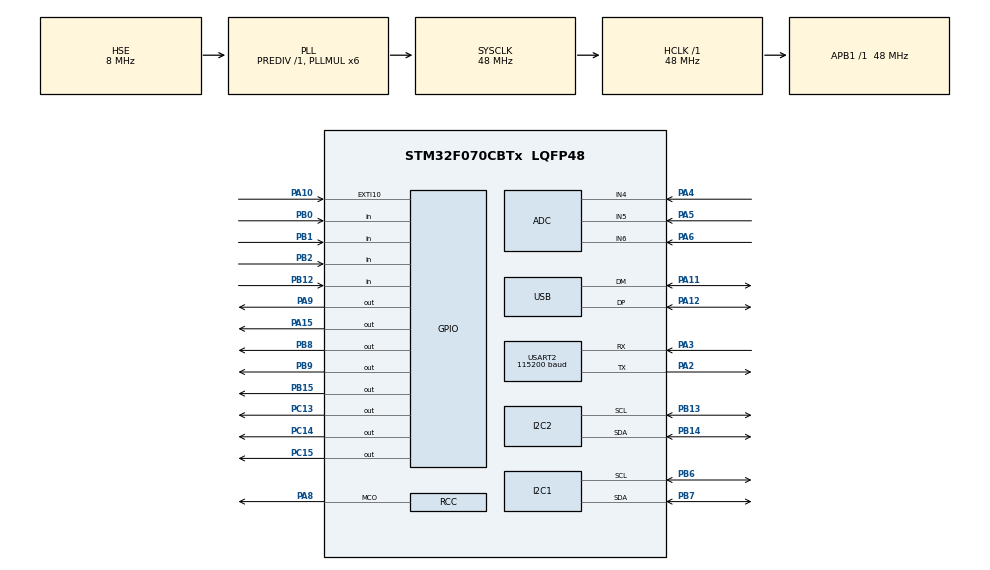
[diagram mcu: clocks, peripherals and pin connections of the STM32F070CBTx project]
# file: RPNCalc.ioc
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ADC.SamplingTime=ADC_SAMPLETIME_239CYCLES_5
I2C2.Timing=0x20303E5D
Mcu.Family=STM32F0
Mcu.Name=STM32F070CBTx
Mcu.Package=LQFP48
NVIC.ADC1_IRQn=true\:0\:0\:false\:false\:true\:true\:true
NVIC.EXTI4_15_IRQn=true\:0\:0\:false\:false\:true\:true\:true
NVIC.USART2_IRQn=true\:0\:0\:false\:false\:true\:true\:true
NVIC.USB_IRQn=true\:0\:0\:false\:false\:true\:true\:true
PA10.GPIO_ModeDefaultEXTI=GPIO_MODE_IT_FALLING
PA10.Signal=GPXTI10
PA11.Mode=Device
PA11.Signal=USB_DM
PA12.Mode=Device
PA12.Signal=USB_DP
PA15.Signal=GPIO_Output
PA2.Mode=Asynchronous
PA2.Signal=USART2_TX
PA3.Mode=Asynchronous
PA3.Signal=USART2_RX
PA4.Mode=IN4
PA4.Signal=ADC_IN4
PA5.Mode=IN5
PA5.Signal=ADC_IN5
PA6.Mode=IN6
PA6.Signal=ADC_IN6
PA8.Mode=Clock-out
PA8.Signal=RCC_MCO
PA9.Signal=GPIO_Output
PB0.Signal=GPIO_Input
PB1.Signal=GPIO_Input
PB12.Signal=GPIO_Input
PB13.Mode=I2C
PB13.Signal=I2C2_SCL
PB14.Mode=I2C
PB14.Signal=I2C2_SDA
PB15.Signal=GPIO_Output
PB2.Signal=GPIO_Input
PB3.Signal=SPI1_SCK
PB4.Signal=SPI1_MISO
PB5.Signal=SPI1_MOSI
PB6.Mode=I2C
PB6.Signal=I2C1_SCL
PB7.Mode=I2C
PB7.Signal=I2C1_SDA
PB8.Signal=GPIO_Output
PB9.Signal=GPIO_Output
PC13.Signal=GPIO_Output
PC14-OSC32_IN.Signal=GPIO_Output
PC15-OSC32_OUT.Signal=GPIO_Output
PF0-OSC_IN.Mode=HSE-External-Oscillator
PF0-OSC_IN.Signal=RCC_OSC_IN
PF1-OSC_OUT.Mode=HSE-External-Oscillator
PF1-OSC_OUT.Signal=RCC_OSC_OUT
ProjectManager.HeapSize=0x200
ProjectManager.StackSize=0x400
ProjectManager.TargetToolchain=STM32CubeIDE
RCC.AHBFreq_Value=48000000
RCC.APB1Freq_Value=48000000
RCC.APB1TimFreq_Value=48000000
RCC.HCLKFreq_Value=48000000
RCC.PLLMUL=RCC_PLL_MUL6
RCC.SYSCLKFreq_VALUE=48000000
RCC.SYSCLKSource=RCC_SYSCLKSOURCE_PLLCLK
USART2.BaudRate=115200
USART2.VirtualMode-Asynchronous=VM_ASYNC
VP_ADC_TempSens_Input.Mode=IN-TempSens
VP_ADC_Vref_Input.Mode=IN-Vrefint
VP_IWDG_VS_IWDG.Mode=IWDG_Activate
VP_TIM1_VS_ClockSourceINT.Mode=Internal
VP_TIM3_VS_ClockSourceINT.Mode=Internal
board=custom

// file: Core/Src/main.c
/* USER CODE BEGIN Header */
/**
  ******************************************************************************
  * @file           : main.c
  * @brief          : Main program body
  ******************************************************************************
  * @attention
  *
  * <h2><center>&copy; Copyright (c) 2020 STMicroelectronics.
  * All rights reserved.</center></h2>
  *
  * This software component is licensed by ST under BSD 3-Clause license,
  * the "License"; You may not use this file except in compliance with the
  * License. You may obtain a copy of the License at:
  *                        opensource.org/licenses/BSD-3-Clause
  *
  ******************************************************************************
  */
/* USER CODE END Header */
#include "main.h"

/* USER CODE BEGIN Includes */
#include <stdio.h>
#include "rpnHwDefs.h"
#include "display.h"
#include "keypad.h"
#include "calcMaths.h"
#include "calculator.h"

/* USER CODE END Includes */

ADC_HandleTypeDef hadc;

I2C_HandleTypeDef hi2c1;
I2C_HandleTypeDef hi2c2;

IWDG_HandleTypeDef hiwdg;

TIM_HandleTypeDef htim1;
TIM_HandleTypeDef htim3;

UART_HandleTypeDef huart2;

PCD_HandleTypeDef hpcd_USB_FS;

void SystemClock_Config(void);
static void MX_GPIO_Init(void);
static void MX_ADC_Init(void);
static void MX_I2C1_Init(void);
static void MX_I2C2_Init(void);
static void MX_TIM1_Init(void);
static void MX_TIM3_Init(void);
static void MX_USART2_UART_Init(void);
static void MX_USB_PCD_Init(void);
static void MX_IWDG_Init(void);
/* USER CODE BEGIN PFP */
static void StartADCs(void);
static void HandleLEDBlinker(int16_t tick);

#define    UART_QUEUE_SIZE    16
uint8_t    uart_rx_data[4];

uint8_t    uartcharqueue[UART_QUEUE_SIZE];
int16_t    uartqueueHead;
int16_t    uartqueueTail;
void    PushUARTQueue(uint8_t    value);
uint8_t    PopUARTQueue(void);

/* USER CODE END PFP */

/* USER CODE BEGIN 0 */
int16_t            adcValues[ADC_CHANNEL_COUNT];
static int16_t     adcChannel;
static char     pwrButtonEnabled;

/* USER CODE END 0 */

int main(void)
{
  /* USER CODE BEGIN 1 */
    int16_t        i,ticker;
     uint8_t        keycode;

  /* USER CODE END 1 */

  /* MCU Configuration--------------------------------------------------------*/

  /* Reset of all peripherals, Initializes the Flash interface and the Systick. */
  HAL_Init();

  /* Configure the system clock */
  SystemClock_Config();

  /* Initialize all configured peripherals */
  MX_GPIO_Init();
  MX_ADC_Init();
  MX_I2C1_Init();
  MX_I2C2_Init();
  MX_TIM1_Init();
  MX_TIM3_Init();
  MX_USART2_UART_Init();
  MX_USB_PCD_Init();
  MX_IWDG_Init();
  /* USER CODE BEGIN 2 */
    POWER_SUPPLY_HOLD(1);  // hold the power supply on
    KEYPAD_RESET(1);          // hold keypad in reset

    HAL_TIM_Base_Start(&htim1);

     HAL_IWDG_Refresh(&hiwdg);  // kick WDT

     DisplayInitialize();
     HAL_IWDG_Refresh(&hiwdg);  // kick WDT

     KeyboardInitialize();
     DoInitializeCalculator();

     i=0;
     while(i<ADC_CHANNEL_COUNT){
         adcValues[i++]=0;
     }

          pwrButtonEnabled=0;

       ticker = 0;
#if 1
            HAL_UART_Transmit(&huart2,(uint8_t *)"BOOTED\n\r",8, 1000);
#endif

  /* USER CODE END 2 */

  /* Infinite loop */
  /* USER CODE BEGIN WHILE */
  while (1)
  {
      HAL_IWDG_Refresh(&hiwdg);  // kick WDT
      HAL_PWR_EnterSLEEPMode( PWR_LOWPOWERREGULATOR_ON, PWR_SLEEPENTRY_WFI );      // sleep 1ms

    /* USER CODE END WHILE */

    /* USER CODE BEGIN 3 */

      keycode = ReadKeypad(); // check for new key codes
      if(pwrButtonEnabled==0){
          if(keycode==KEY_PWR_ON_OFF){  // button released, we can enable the ON/OFF function
              pwrButtonEnabled=1;
          }
      } else {
          if(keycode==(KEYDOWN_EVENT|KEY_PWR_ON_OFF)){  // button pressed
              POWER_SUPPLY_HOLD(0);  // turn the power supply off
          }
      }

      if(ticker==0)
          StartADCs();

      HandleLEDBlinker(ticker);

      (void)PopUARTQueue();

      DoRunCalculator(keycode);

      ticker++;
       if(ticker == 1000)
          ticker =0;
  }
  /* USER CODE END 3 */
}

void SystemClock_Config(void)
{
  RCC_OscInitTypeDef RCC_OscInitStruct = {0};
  RCC_ClkInitTypeDef RCC_ClkInitStruct = {0};
  RCC_PeriphCLKInitTypeDef PeriphClkInit = {0};

  /** Initializes the RCC Oscillators according to the specified parameters
  * in the RCC_OscInitTypeDef structure.
  */
  RCC_OscInitStruct.OscillatorType = RCC_OSCILLATORTYPE_HSI|RCC_OSCILLATORTYPE_HSI14
                              |RCC_OSCILLATORTYPE_LSI|RCC_OSCILLATORTYPE_HSE;
  RCC_OscInitStruct.HSEState = RCC_HSE_ON;
  RCC_OscInitStruct.HSIState = RCC_HSI_ON;
  RCC_OscInitStruct.HSI14State = RCC_HSI14_ON;
  RCC_OscInitStruct.HSICalibrationValue = RCC_HSICALIBRATION_DEFAULT;
  RCC_OscInitStruct.HSI14CalibrationValue = 16;
  RCC_OscInitStruct.LSIState = RCC_LSI_ON;
  RCC_OscInitStruct.PLL.PLLState = RCC_PLL_ON;
  RCC_OscInitStruct.PLL.PLLSource = RCC_PLLSOURCE_HSE;
  RCC_OscInitStruct.PLL.PLLMUL = RCC_PLL_MUL6;
  RCC_OscInitStruct.PLL.PREDIV = RCC_PREDIV_DIV1;
  if (HAL_RCC_OscConfig(&RCC_OscInitStruct) != HAL_OK)
  {
    Error_Handler();
  }
  /** Initializes the CPU, AHB and APB buses clocks
  */
  RCC_ClkInitStruct.ClockType = RCC_CLOCKTYPE_HCLK|RCC_CLOCKTYPE_SYSCLK
                              |RCC_CLOCKTYPE_PCLK1;
  RCC_ClkInitStruct.SYSCLKSource = RCC_SYSCLKSOURCE_PLLCLK;
  RCC_ClkInitStruct.AHBCLKDivider = RCC_SYSCLK_DIV1;
  RCC_ClkInitStruct.APB1CLKDivider = RCC_HCLK_DIV1;

  if (HAL_RCC_ClockConfig(&RCC_ClkInitStruct, FLASH_LATENCY_1) != HAL_OK)
  {
    Error_Handler();
  }
  PeriphClkInit.PeriphClockSelection = RCC_PERIPHCLK_USB|RCC_PERIPHCLK_I2C1;
  PeriphClkInit.I2c1ClockSelection = RCC_I2C1CLKSOURCE_HSI;
  PeriphClkInit.UsbClockSelection = RCC_USBCLKSOURCE_PLL;

  if (HAL_RCCEx_PeriphCLKConfig(&PeriphClkInit) != HAL_OK)
  {
    Error_Handler();
  }
  HAL_RCC_MCOConfig(RCC_MCO, RCC_MCO1SOURCE_SYSCLK, RCC_MCODIV_1);
}

static void MX_ADC_Init(void)
{

  ADC_ChannelConfTypeDef sConfig = {0};

  /** Configure the global features of the ADC (Clock, Resolution, Data Alignment and number of conversion)
  */
  hadc.Instance = ADC1;
  hadc.Init.ClockPrescaler = ADC_CLOCK_ASYNC_DIV1;
  hadc.Init.Resolution = ADC_RESOLUTION_12B;
  hadc.Init.DataAlign = ADC_DATAALIGN_RIGHT;
  hadc.Init.ScanConvMode = ADC_SCAN_DIRECTION_FORWARD;
  hadc.Init.EOCSelection = ADC_EOC_SINGLE_CONV;
  hadc.Init.LowPowerAutoWait = DISABLE;
  hadc.Init.LowPowerAutoPowerOff = DISABLE;
  hadc.Init.ContinuousConvMode = DISABLE;
  hadc.Init.DiscontinuousConvMode = DISABLE;
  hadc.Init.ExternalTrigConv = ADC_SOFTWARE_START;
  hadc.Init.ExternalTrigConvEdge = ADC_EXTERNALTRIGCONVEDGE_NONE;
  hadc.Init.DMAContinuousRequests = DISABLE;
  hadc.Init.Overrun = ADC_OVR_DATA_PRESERVED;
  if (HAL_ADC_Init(&hadc) != HAL_OK)
  {
    Error_Handler();
  }
  /** Configure for the selected ADC regular channel to be converted.
  */
  sConfig.Channel = ADC_CHANNEL_4;
  sConfig.Rank = ADC_RANK_CHANNEL_NUMBER;
  sConfig.SamplingTime = ADC_SAMPLETIME_239CYCLES_5;
  if (HAL_ADC_ConfigChannel(&hadc, &sConfig) != HAL_OK)
  {
    Error_Handler();
  }
  /** Configure for the selected ADC regular channel to be converted.
  */
  sConfig.Channel = ADC_CHANNEL_5;
  if (HAL_ADC_ConfigChannel(&hadc, &sConfig) != HAL_OK)
  {
    Error_Handler();
  }
  /** Configure for the selected ADC regular channel to be converted.
  */
  sConfig.Channel = ADC_CHANNEL_6;
  if (HAL_ADC_ConfigChannel(&hadc, &sConfig) != HAL_OK)
  {
    Error_Handler();
  }
  /** Configure for the selected ADC regular channel to be converted.
  */
  sConfig.Channel = ADC_CHANNEL_TEMPSENSOR;
  if (HAL_ADC_ConfigChannel(&hadc, &sConfig) != HAL_OK)
  {
    Error_Handler();
  }
  /** Configure for the selected ADC regular channel to be converted.
  */
  sConfig.Channel = ADC_CHANNEL_VREFINT;
  if (HAL_ADC_ConfigChannel(&hadc, &sConfig) != HAL_OK)
  {
    Error_Handler();
  }

}

static void MX_I2C1_Init(void)
{

  hi2c1.Instance = I2C1;
  hi2c1.Init.Timing = 0x2000090E;
  hi2c1.Init.OwnAddress1 = 0;
  hi2c1.Init.AddressingMode = I2C_ADDRESSINGMODE_7BIT;
  hi2c1.Init.DualAddressMode = I2C_DUALADDRESS_DISABLE;
  hi2c1.Init.OwnAddress2 = 0;
  hi2c1.Init.OwnAddress2Masks = I2C_OA2_NOMASK;
  hi2c1.Init.GeneralCallMode = I2C_GENERALCALL_DISABLE;
  hi2c1.Init.NoStretchMode = I2C_NOSTRETCH_DISABLE;
  if (HAL_I2C_Init(&hi2c1) != HAL_OK)
  {
    Error_Handler();
  }
  /** Configure Analogue filter
  */
  if (HAL_I2CEx_ConfigAnalogFilter(&hi2c1, I2C_ANALOGFILTER_ENABLE) != HAL_OK)
  {
    Error_Handler();
  }
  /** Configure Digital filter
  */
  if (HAL_I2CEx_ConfigDigitalFilter(&hi2c1, 0) != HAL_OK)
  {
    Error_Handler();
  }

}

static void MX_I2C2_Init(void)
{

  hi2c2.Instance = I2C2;
  hi2c2.Init.Timing = 0x20303E5D;
  hi2c2.Init.OwnAddress1 = 0;
  hi2c2.Init.AddressingMode = I2C_ADDRESSINGMODE_7BIT;
  hi2c2.Init.DualAddressMode = I2C_DUALADDRESS_DISABLE;
  hi2c2.Init.OwnAddress2 = 0;
  hi2c2.Init.OwnAddress2Masks = I2C_OA2_NOMASK;
  hi2c2.Init.GeneralCallMode = I2C_GENERALCALL_DISABLE;
  hi2c2.Init.NoStretchMode = I2C_NOSTRETCH_DISABLE;
  if (HAL_I2C_Init(&hi2c2) != HAL_OK)
  {
    Error_Handler();
  }
  /** Configure Analogue filter
  */
  if (HAL_I2CEx_ConfigAnalogFilter(&hi2c2, I2C_ANALOGFILTER_ENABLE) != HAL_OK)
  {
    Error_Handler();
  }
  /** Configure Digital filter
  */
  if (HAL_I2CEx_ConfigDigitalFilter(&hi2c2, 0) != HAL_OK)
  {
    Error_Handler();
  }

}

static void MX_IWDG_Init(void)
{

  hiwdg.Instance = IWDG;
  hiwdg.Init.Prescaler = IWDG_PRESCALER_4;
  hiwdg.Init.Window = 4095;
  hiwdg.Init.Reload = 4095;
  if (HAL_IWDG_Init(&hiwdg) != HAL_OK)
  {
    Error_Handler();
  }

}

static void MX_TIM1_Init(void)
{

  TIM_ClockConfigTypeDef sClockSourceConfig = {0};
  TIM_MasterConfigTypeDef sMasterConfig = {0};

  htim1.Instance = TIM1;
  htim1.Init.Prescaler = 0;
  htim1.Init.CounterMode = TIM_COUNTERMODE_UP;
  htim1.Init.Period = 65535;
  htim1.Init.ClockDivision = TIM_CLOCKDIVISION_DIV1;
  htim1.Init.RepetitionCounter = 0;
  htim1.Init.AutoReloadPreload = TIM_AUTORELOAD_PRELOAD_DISABLE;
  if (HAL_TIM_Base_Init(&htim1) != HAL_OK)
  {
    Error_Handler();
  }
  sClockSourceConfig.ClockSource = TIM_CLOCKSOURCE_INTERNAL;
  if (HAL_TIM_ConfigClockSource(&htim1, &sClockSourceConfig) != HAL_OK)
  {
    Error_Handler();
  }
  sMasterConfig.MasterOutputTrigger = TIM_TRGO_RESET;
  sMasterConfig.MasterSlaveMode = TIM_MASTERSLAVEMODE_DISABLE;
  if (HAL_TIMEx_MasterConfigSynchronization(&htim1, &sMasterConfig) != HAL_OK)
  {
    Error_Handler();
  }

}

static void MX_TIM3_Init(void)
{

  TIM_ClockConfigTypeDef sClockSourceConfig = {0};
  TIM_MasterConfigTypeDef sMasterConfig = {0};

  htim3.Instance = TIM3;
  htim3.Init.Prescaler = 0;
  htim3.Init.CounterMode = TIM_COUNTERMODE_UP;
  htim3.Init.Period = 65535;
  htim3.Init.ClockDivision = TIM_CLOCKDIVISION_DIV1;
  htim3.Init.AutoReloadPreload = TIM_AUTORELOAD_PRELOAD_DISABLE;
  if (HAL_TIM_Base_Init(&htim3) != HAL_OK)
  {
    Error_Handler();
  }
  sClockSourceConfig.ClockSource = TIM_CLOCKSOURCE_INTERNAL;
  if (HAL_TIM_ConfigClockSource(&htim3, &sClockSourceConfig) != HAL_OK)
  {
    Error_Handler();
  }
  sMasterConfig.MasterOutputTrigger = TIM_TRGO_RESET;
  sMasterConfig.MasterSlaveMode = TIM_MASTERSLAVEMODE_DISABLE;
  if (HAL_TIMEx_MasterConfigSynchronization(&htim3, &sMasterConfig) != HAL_OK)
  {
    Error_Handler();
  }

}

static void MX_USART2_UART_Init(void)
{

  huart2.Instance = USART2;
  huart2.Init.BaudRate = 115200;
  huart2.Init.WordLength = UART_WORDLENGTH_8B;
  huart2.Init.StopBits = UART_STOPBITS_1;
  huart2.Init.Parity = UART_PARITY_NONE;
  huart2.Init.Mode = UART_MODE_TX_RX;
  huart2.Init.HwFlowCtl = UART_HWCONTROL_NONE;
  huart2.Init.OverSampling = UART_OVERSAMPLING_16;
  huart2.Init.OneBitSampling = UART_ONE_BIT_SAMPLE_DISABLE;
  huart2.AdvancedInit.AdvFeatureInit = UART_ADVFEATURE_NO_INIT;
  if (HAL_UART_Init(&huart2) != HAL_OK)
  {
    Error_Handler();
  }
  /* USER CODE BEGIN USART2_Init 2 */
  /* Peripheral interrupt init*/
  UART_Start_Receive_IT(&huart2,uart_rx_data,1);

  /* USER CODE END USART2_Init 2 */

}

static void MX_USB_PCD_Init(void)
{

  hpcd_USB_FS.Instance = USB;
  hpcd_USB_FS.Init.dev_endpoints = 8;
  hpcd_USB_FS.Init.speed = PCD_SPEED_FULL;
  hpcd_USB_FS.Init.phy_itface = PCD_PHY_EMBEDDED;
  hpcd_USB_FS.Init.low_power_enable = DISABLE;
  hpcd_USB_FS.Init.lpm_enable = DISABLE;
  hpcd_USB_FS.Init.battery_charging_enable = DISABLE;
  if (HAL_PCD_Init(&hpcd_USB_FS) != HAL_OK)
  {
    Error_Handler();
  }

}

static void MX_GPIO_Init(void)
{
  GPIO_InitTypeDef GPIO_InitStruct = {0};

  /* GPIO Ports Clock Enable */
  __HAL_RCC_GPIOC_CLK_ENABLE();
  __HAL_RCC_GPIOF_CLK_ENABLE();
  __HAL_RCC_GPIOA_CLK_ENABLE();
  __HAL_RCC_GPIOB_CLK_ENABLE();

  /*Configure GPIO pin Output Level */
  HAL_GPIO_WritePin(GPIOC, GPIO_PIN_13|GPIO_PIN_14|GPIO_PIN_15, GPIO_PIN_RESET);

  /*Configure GPIO pin Output Level */
  HAL_GPIO_WritePin(GPIOB, GPIO_PIN_15|GPIO_PIN_8|GPIO_PIN_9, GPIO_PIN_RESET);

  /*Configure GPIO pin Output Level */
  HAL_GPIO_WritePin(GPIOA, GPIO_PIN_9|GPIO_PIN_15, GPIO_PIN_RESET);

  /*Configure GPIO pins : PC13 PC14 PC15 */
  GPIO_InitStruct.Pin = GPIO_PIN_13|GPIO_PIN_14|GPIO_PIN_15;
  GPIO_InitStruct.Mode = GPIO_MODE_OUTPUT_PP;
  GPIO_InitStruct.Pull = GPIO_NOPULL;
  GPIO_InitStruct.Speed = GPIO_SPEED_FREQ_LOW;
  HAL_GPIO_Init(GPIOC, &GPIO_InitStruct);

  /*Configure GPIO pins : PB0 PB1 PB2 PB12 */
  GPIO_InitStruct.Pin = GPIO_PIN_0|GPIO_PIN_1|GPIO_PIN_2|GPIO_PIN_12;
  GPIO_InitStruct.Mode = GPIO_MODE_INPUT;
  GPIO_InitStruct.Pull = GPIO_NOPULL;
  HAL_GPIO_Init(GPIOB, &GPIO_InitStruct);

  /*Configure GPIO pins : PB15 PB8 PB9 */
  GPIO_InitStruct.Pin = GPIO_PIN_15|GPIO_PIN_8|GPIO_PIN_9;
  GPIO_InitStruct.Mode = GPIO_MODE_OUTPUT_PP;
  GPIO_InitStruct.Pull = GPIO_NOPULL;
  GPIO_InitStruct.Speed = GPIO_SPEED_FREQ_LOW;
  HAL_GPIO_Init(GPIOB, &GPIO_InitStruct);

  /*Configure GPIO pin : PA8 */
  GPIO_InitStruct.Pin = GPIO_PIN_8;
  GPIO_InitStruct.Mode = GPIO_MODE_AF_PP;
  GPIO_InitStruct.Pull = GPIO_NOPULL;
  GPIO_InitStruct.Speed = GPIO_SPEED_FREQ_LOW;
  GPIO_InitStruct.Alternate = GPIO_AF0_MCO;
  HAL_GPIO_Init(GPIOA, &GPIO_InitStruct);

  /*Configure GPIO pins : PA9 PA15 */
  GPIO_InitStruct.Pin = GPIO_PIN_9|GPIO_PIN_15;
  GPIO_InitStruct.Mode = GPIO_MODE_OUTPUT_PP;
  GPIO_InitStruct.Pull = GPIO_NOPULL;
  GPIO_InitStruct.Speed = GPIO_SPEED_FREQ_LOW;
  HAL_GPIO_Init(GPIOA, &GPIO_InitStruct);

  /*Configure GPIO pin : PA10 */
  GPIO_InitStruct.Pin = GPIO_PIN_10;
  GPIO_InitStruct.Mode = GPIO_MODE_IT_FALLING;
  GPIO_InitStruct.Pull = GPIO_NOPULL;
  HAL_GPIO_Init(GPIOA, &GPIO_InitStruct);

  /*Configure GPIO pins : PB3 PB4 PB5 */
  GPIO_InitStruct.Pin = GPIO_PIN_3|GPIO_PIN_4|GPIO_PIN_5;
  GPIO_InitStruct.Mode = GPIO_MODE_AF_PP;
  GPIO_InitStruct.Pull = GPIO_NOPULL;
  GPIO_InitStruct.Speed = GPIO_SPEED_FREQ_HIGH;
  GPIO_InitStruct.Alternate = GPIO_AF0_SPI1;
  HAL_GPIO_Init(GPIOB, &GPIO_InitStruct);

  /* EXTI interrupt init*/
  HAL_NVIC_SetPriority(EXTI4_15_IRQn, 0, 0);
  HAL_NVIC_EnableIRQ(EXTI4_15_IRQn);

}

/* USER CODE BEGIN 4 */

static void HandleLEDBlinker(int16_t tick)
{
#if 1
    // blink LED
     if(tick==75)
         LED(0); // LED off
     else if(tick==0)
         LED(1); // LED on
#endif
}

// The ADC  reads ADC4, ADC5 and ADC6
// MonitorADCs gets called @ 4ms interval
//  - ADC conversion starts every 8ms
//  - a result happens every 8ms
//  - so a new reading happens every 16ms.
static void StartADCs(void)
{

    HAL_ADC_Start_IT(&hadc);
    adcChannel=0;
    // when channrl==4 we know all the channels have been read

}

void HAL_ADC_ConvCpltCallback(ADC_HandleTypeDef* phadc)
{
    int32_t  adc;

    // Read & Update The ADC Result
    adc = (int32_t)HAL_ADC_GetValue(phadc );
    if (adcChannel<ADC_CHANNEL_COUNT){
         adcValues[adcChannel] = adc;
         adcChannel++;
         if(adcChannel==ADC_CHANNEL_COUNT){
             HAL_ADC_Stop(phadc);
         }
    }

}

void HAL_UART_RxCpltCallback(UART_HandleTypeDef *huart)
{

     HAL_UART_Receive_IT(&huart2,uart_rx_data,1);
     PushUARTQueue(uart_rx_data[0]);

}

/*    **    **    **    **    **    **    **    **    **    **    **    **    **    **    **    **    **    **    **
 *     PushKeyEventQueue - reads a 1 byte register from the TCA8414
 *  INPUT: value (keycode) to stuff onto the queue
 *  OUTPUT: none
 *  **    **    **    **    **    **    **    **    **    **    **    **    **    **    **    **    **    **    */
void    PushUARTQueue(uint8_t    value)
{
    uartcharqueue[uartqueueHead]=value;
    uartqueueHead++;
    if(uartqueueHead==UART_QUEUE_SIZE)
        uartqueueHead=0;

    if(uartqueueHead == uartqueueTail){
        // the queue is now full

    }

}

/*    **    **    **    **    **    **    **    **    **    **    **    **    **    **    **    **    **    **    **
 *     PopKeyEventQueue - reads a 1 byte register from the TCA8414
 *  INPUT:  none
 *  OUTPUT: value (keycode) from the queue or zero if queue is empty
 *  **    **    **    **    **    **    **    **    **    **    **    **    **    **    **    **    **    **    */
uint8_t    PopUARTQueue(void)
{
    uint8_t value;

    if(uartqueueHead == uartqueueTail){
        // the queue is empty
        value =0;
    } else {
        value = uartcharqueue[uartqueueTail];
        uartqueueTail++;
        if(uartqueueTail==UART_QUEUE_SIZE)
            uartqueueTail=0;
    }

    return(value);
}

/* USER CODE END 4 */

void Error_Handler(void)
{
  __disable_irq();
  while (1)
  {
  }
}

/************************ (C) COPYRIGHT STMicroelectronics *****END OF FILE****/
